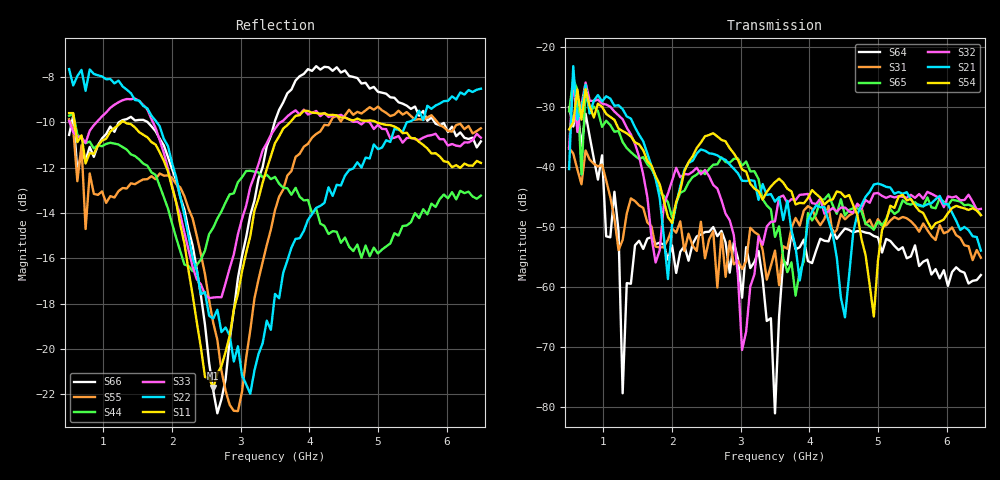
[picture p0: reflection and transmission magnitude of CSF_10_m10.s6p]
!Keysight Technologies,M9804A,MY58100912,A.14.10.03
!Date: Thursday, April 27, 2023 10:28:33
!Correction: S11(C  6-Port  )
!S12(C  6-Port  )
!S13(C  6-Port  )
!S14(C  6-Port  )
!S15(C  6-Port  )
!S16(C  6-Port  )
!S21(C  6-Port  )
!S22(C  6-Port  )
!S23(C  6-Port  )
!S24(C  6-Port  )
!S25(C  6-Port  )
!S26(C  6-Port  )
!S31(C  6-Port  )
!S32(C  6-Port  )
!S33(C  6-Port  )
!S34(C  6-Port  )
!S35(C  6-Port  )
!S36(C  6-Port  )
!S41(C  6-Port  )
!S42(C  6-Port  )
!S43(C  6-Port  )
!S44(C  6-Port  )
!S45(C  6-Port  )
!S46(C  6-Port  )
!S51(C  6-Port  )
!S52(C  6-Port  )
!S53(C  6-Port  )
!S54(C  6-Port  )
!S55(C  6-Port  )
!S56(C  6-Port  )
!S61(C  6-Port  )
!S62(C  6-Port  )
!S63(C  6-Port  )
!S64(C  6-Port  )
!S65(C  6-Port  )
!S66(C  6-Port  )
!S6P File: Measurement: :
# Hz S  RI  R 50
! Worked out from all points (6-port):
!   101 points, 500 MHz to 6.5 GHz, reference 50 ohm
!   strongest paths, dB at 500 MHz, 2 GHz, 3.5 GHz, 5 GHz, 6.5 GHz:
!     S54: -33.7, -49.3, -42.5, -55.6, -48.0
!     S21: -40.3, -49.6, -45.8, -42.7, -53.9
!     S32: -36.9, -42.3, -49.1, -44.3, -47.0
!     S65: -30.7, -48.4, -51.6, -49.1, -48.0
!     S31: -36.8, -50.2, -53.9, -48.7, -55.1
!     S64: -30.0, -53.1, -81.1, -51.7, -58.0
!   lowest |S11| = -21.7 dB at 2.6 GHz (marker M1), VSWR 1.18, Z = 42.7 + j2 ohm
!   |S11| at or under -10 dB: 579.1 MHz to 1.26 GHz (681.3 MHz wide, 74.1 % of centre); 1.314 GHz to 3.718 GHz (2.404 GHz wide, 95.6 % of centre); 4.982 GHz to end of sweep
